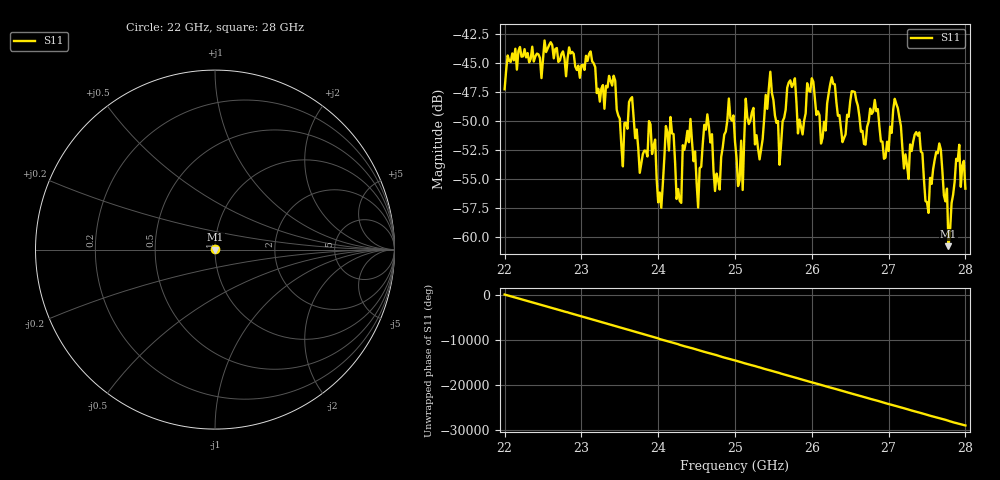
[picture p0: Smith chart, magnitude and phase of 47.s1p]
#  HZ  S  RI  R  50.00
! Rohde & Schwarz ZVA40 4Ports - Version 3.90 - 1145.1110k42 SN: 100403
! Date: 2023-10-04 06:23:44
! Measurement: S12
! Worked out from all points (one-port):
!   301 points, 22 GHz to 28 GHz, reference 50 ohm
!   lowest |S11| = -60.8 dB at 27.78 GHz (marker M1), VSWR 1.00, Z = 50.1 + j0.0385 ohm
!   |S11| at or under -10 dB: start of sweep to end of sweep
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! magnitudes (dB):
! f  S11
! 22 GHz  -47.2
! 22.76 GHz  -44.0
! 23.5 GHz  -49.8
! 23.76 GHz  -54.5
! 23.88 GHz  -50.0
! 24.04 GHz  -57.5
! 24.16 GHz  -49.6
! 24.26 GHz  -55.9
! 24.42 GHz  -49.8
! 24.52 GHz  -57.5
! 24.64 GHz  -49.4
! 24.74 GHz  -56.0
! 24.92 GHz  -48.0
! 25 GHz  -51.7
! 25.32 GHz  -53.3
! 25.46 GHz  -45.7
! 25.58 GHz  -53.8
! 25.76 GHz  -46.8
! 26.5 GHz  -48.3
! 26.94 GHz  -53.3
! 27.08 GHz  -48.1
! 27.26 GHz  -55.0
! 27.4 GHz  -51.0
! 27.52 GHz  -57.9
! 27.66 GHz  -51.9
! 27.78 GHz  -60.8
! 27.92 GHz  -52.0
! 28 GHz  -55.8
